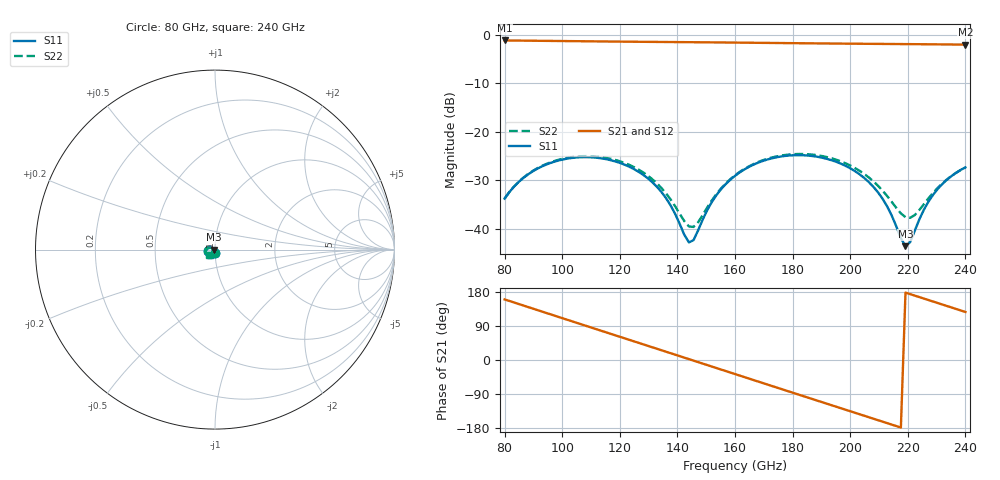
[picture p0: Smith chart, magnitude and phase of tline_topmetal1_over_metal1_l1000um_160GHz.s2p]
#  GHZ S DB R 50
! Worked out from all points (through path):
!   101 points, 80 GHz to 240 GHz, reference 50 ohm
!   highest |S21| = -1.12 dB at 80 GHz (marker M1); lowest = -2.0 dB at 240 GHz (marker M2)
!   group delay of S21, straight-line fit = 6.82 ps
!   lowest |S11| = -43.6 dB at 219.2 GHz (marker M3), VSWR 1.01, Z = 49.4 - j0.11 ohm
!   |S11| at or under -10 dB: start of sweep to end of sweep
!   |S22| runs from -39.6 to -24.6 dB; largest |S21 - S12| = 9.4e-14
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80  -33.79 -90.6  -1.12 159.9  -1.12 159.9  -33.79 -93.2
91.2  -27.66 -111.6  -1.19 132.2  -1.19 132.2  -27.57 -111.4
99.2  -25.84 -130.3  -1.24 112.5  -1.24 112.5  -25.69 -129.2
107.2  -25.22 -149.3  -1.29 92.8  -1.29 92.8  -25.01 -147.5
120  -26.40 -178.9  -1.36 61.3  -1.36 61.3  -26.07 -175.7
128  -28.82 164.5  -1.40 41.6  -1.40 41.6  -28.33 169.1
134.4  -32.38 154.8  -1.43 25.9  -1.43 25.9  -31.56 161.4
144  -42.83 -164.6  -1.48 2.3  -1.48 2.3  -39.53 -166.6
145.6  -42.36 -139.0  -1.49 -1.6  -1.49 -1.6  -39.63 -149.2
147.2  -40.34 -121.3  -1.49 -5.6  -1.49 -5.6  -38.67 -134.0
153.6  -33.02 -107.4  -1.53 -21.3  -1.53 -21.3  -32.80 -113.5
160  -29.08 -115.8  -1.56 -37.1  -1.56 -37.1  -28.97 -118.4
174.4  -25.25 -145.3  -1.65 -72.5  -1.65 -72.5  -25.07 -144.6
187.2  -25.02 -173.6  -1.72 -103.8  -1.72 -103.8  -24.72 -170.8
195.2  -26.20 169.2  -1.76 -123.4  -1.76 -123.4  -25.76 173.6
203.2  -28.74 153.4  -1.80 -143.0  -1.80 -143.0  -28.02 160.4
209.6  -32.45 144.2  -1.83 -158.7  -1.83 -158.7  -31.09 154.7
214.4  -37.25 145.6  -1.85 -170.4  -1.85 -170.4  -34.44 159.2
219.2  -43.61 -170.3  -1.87 177.8  -1.87 177.8  -37.62 -175.8
222.4  -40.45 -125.1  -1.89 169.9  -1.89 169.9  -37.19 -150.4
228.8  -32.98 -113.1  -1.92 154.2  -1.92 154.2  -32.58 -129.1
240  -27.34 -130.3  -1.98 126.8  -1.98 126.8  -27.36 -137.9
